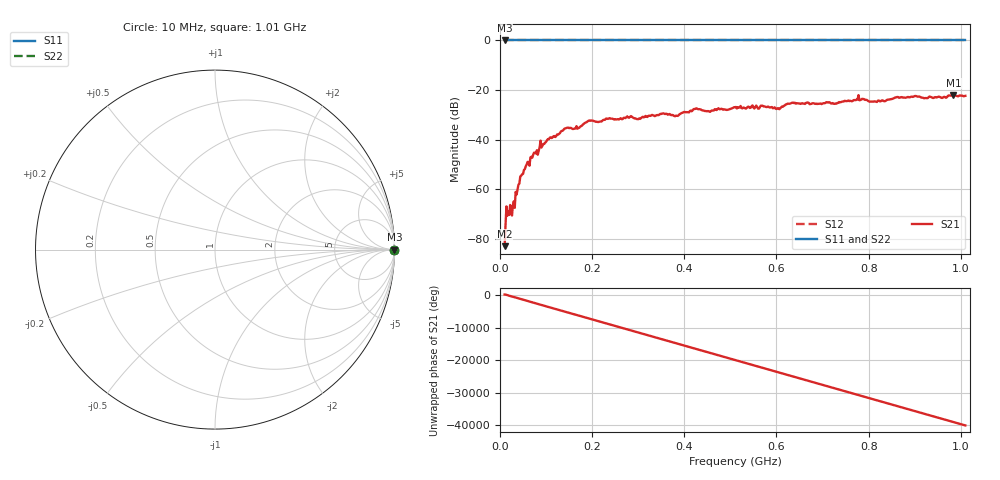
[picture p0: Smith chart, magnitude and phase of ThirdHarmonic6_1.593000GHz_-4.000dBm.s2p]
! 8/16/2025 6:58:36 PM
! C:\ANRITSUVNA\TEMP\TEMP.S2P
! CHANNEL.1
! TR.MEASUREMENT
! RAW.DATA
! RF.CORRECTION.OFF
! AVERAGING.OFF
! IF.BANDWIDTH: 5KHZ
! SWEEPTYPE:  FREQ.SWEEP(Linear)
! Reference Plane Port Info
! PORT:  PORT1  PORT2
! DISTANCE:  0  m  0  m
! TIME:  0  s  0  s
! PHASE.OFFSET:  0  deg.  0  deg.
! LOSS:  0  dB  0  dB
! REF.LOSS:  0  dB  0  dB
! REF.FREQ:  0  Hz  0  Hz
! Power Info
! POWER:  -20  dBm  -20  dBm
! EFF.POWER:  -20  dBm  -20  dBm
! SOURCE.ATTEN:  0  dB  0  dB
! TEST.ATTEN:  0  dB  0  dB
# GHZ S RI R 50.0
! FREQ.GHZ  S11RE  S11IM  S21RE  S21IM  S12RE  S12IM  S22RE  S22IM
!; PortSelection: Port_12
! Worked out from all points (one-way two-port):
!   501 points, 10 MHz to 1.01 GHz, reference 50 ohm
!   highest |S21| = -22.02 dB at 984 MHz (marker M1); lowest = -83.0 dB at 10 MHz (marker M2)
!   lowest |S11| = 0.0 dB at 10 MHz (marker M3)
!   |S11| at or under -10 dB: nowhere
!   |S22| runs from 0.0 to 0.0 dB; largest |S21 - S12| = 1.1
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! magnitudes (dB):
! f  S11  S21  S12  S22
! 10 MHz  0.0  -83.0  0.0  0.0
! 18 MHz  0.0  -68.8  0.0  0.0
! 28 MHz  0.0  -66.5  0.0  0.0
! 44 MHz  0.0  -54.8  0.0  0.0
! 70 MHz  0.0  -47.3  0.0  0.0
! 106 MHz  0.0  -39.8  0.0  0.0
! 142 MHz  0.0  -35.5  0.0  0.0
! 178 MHz  0.0  -34.3  0.0  0.0
! 196 MHz  0.0  -32.4  0.0  0.0
! 280 MHz  0.0  -31.2  0.0  0.0
! 300 MHz  0.0  -31.8  0.0  0.0
! 344 MHz  0.0  -30.1  0.0  0.0
! 382 MHz  0.0  -30.3  0.0  0.0
! 424 MHz  0.0  -27.6  0.0  0.0
! 452 MHz  0.0  -28.5  0.0  0.0
! 510 MHz  0.0  -26.9  0.0  0.0
! 602 MHz  0.0  -27.4  0.0  0.0
! 636 MHz  0.0  -25.1  0.0  0.0
! 678 MHz  0.0  -25.4  0.0  0.0
! 844 MHz  0.0  -23.9  0.0  0.0
! 984 MHz  0.0  -22.0  0.0  0.0
! 1.01 GHz  0.0  -22.3  0.0  0.0
